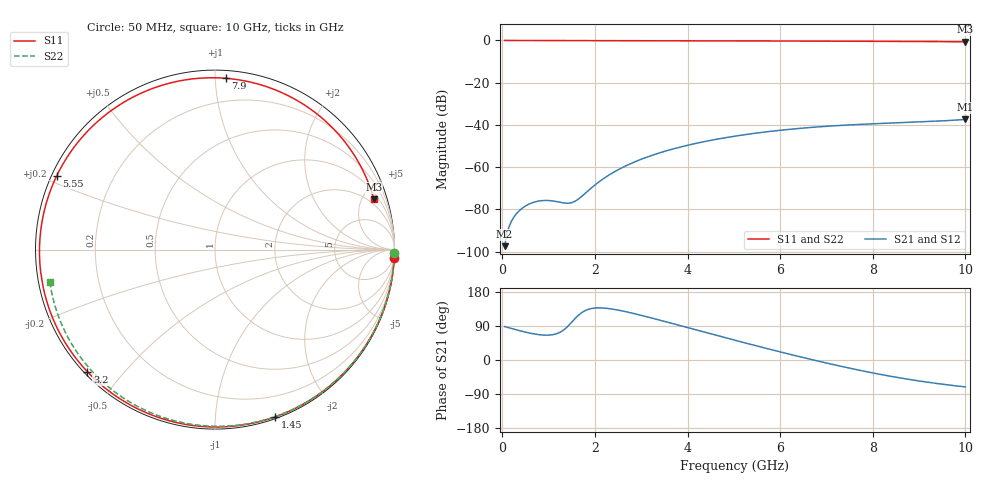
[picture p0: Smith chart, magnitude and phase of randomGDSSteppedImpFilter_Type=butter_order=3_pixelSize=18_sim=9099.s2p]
! freq	dB(S11)	phase(S11)	dB(S12)	phase(S12)
!  dB(S21)	phase(S21)	dB(S22)	phase(S22)
!S-par simulation data
#  GHz  S  DB  R 50
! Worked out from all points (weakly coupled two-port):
!   200 points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, 50 MHz to 10 GHz, reference 50 ohm
!   highest |S21| = -37.38 dB at 10 GHz (marker M1); lowest = -97.4 dB at 50 MHz (marker M2)
!   lowest |S11| = -0.6 dB at 10 GHz (marker M3), VSWR 26.93, Z = 75.8 + j307 ohm
!   |S11| at or under -10 dB: nowhere
!   |S22| runs from -0.6 to 0.0 dB; largest |S21 - S12| = 0
!   S11 on the Smith chart (normalised r, x): 50 MHz: 0, -44; 1.45 GHz: 0.01, -1.42; 3.2 GHz: 0.01, -0.40; 5.55 GHz: 0.01, +0.22; 7.9 GHz: 0.05, +1.06; 10 GHz: 1.52, +6.13
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0.05  -0.00 -2.6  -97.38 88.3  -97.38 88.3  -0.00 -1.0
0.4  -0.03 -20.4  -79.95 76.5  -79.95 76.5  -0.01 -7.8
0.6  -0.04 -30.3  -77.25 70.8  -77.25 70.8  -0.01 -11.6
0.85  -0.05 -42.6  -75.84 66.1  -75.84 66.1  -0.02 -16.4
1.45  -0.08 -70.2  -77.00 93.3  -77.00 93.3  -0.04 -27.8
1.6  -0.09 -76.7  -75.73 113.1  -75.73 113.1  -0.04 -30.7
1.75  -0.09 -83.1  -73.14 127.7  -73.14 127.7  -0.04 -33.5
2.1  -0.11 -97.2  -66.75 137.5  -66.75 137.5  -0.05 -40.0
2.4  -0.12 -108.6  -62.44 133.9  -62.44 133.9  -0.06 -45.5
3.2  -0.14 -136.2  -54.63 111.6  -54.63 111.6  -0.08 -59.9
3.4  -0.15 -142.7  -53.19 105.2  -53.19 105.2  -0.08 -63.4
4.2  -0.18 -166.9  -48.63 78.9  -48.63 78.9  -0.11 -77.2
5.05  -0.21 168.9  -45.21 51.2  -45.21 51.2  -0.14 -91.3
5.55  -0.24 154.9  -43.67 35.4  -43.67 35.4  -0.16 -99.4
6.1  -0.27 139.5  -42.30 18.4  -42.30 18.4  -0.19 -108.1
6.7  -0.30 122.4  -41.11 0.6  -41.11 0.6  -0.23 -117.5
7.3  -0.34 104.7  -40.22 -16.3  -40.22 -16.3  -0.27 -126.7
7.9  -0.39 86.4  -39.55 -31.7  -39.55 -31.7  -0.32 -136.0
8.35  -0.43 72.2  -39.14 -42.2  -39.14 -42.2  -0.37 -142.9
9.1  -0.51 47.7  -38.50 -57.2  -38.50 -57.2  -0.45 -154.5
9.55  -0.57 32.7  -38.02 -64.6  -38.02 -64.6  -0.50 -161.6
10  -0.65 17.5  -37.38 -71.0  -37.38 -71.0  -0.56 -168.8
